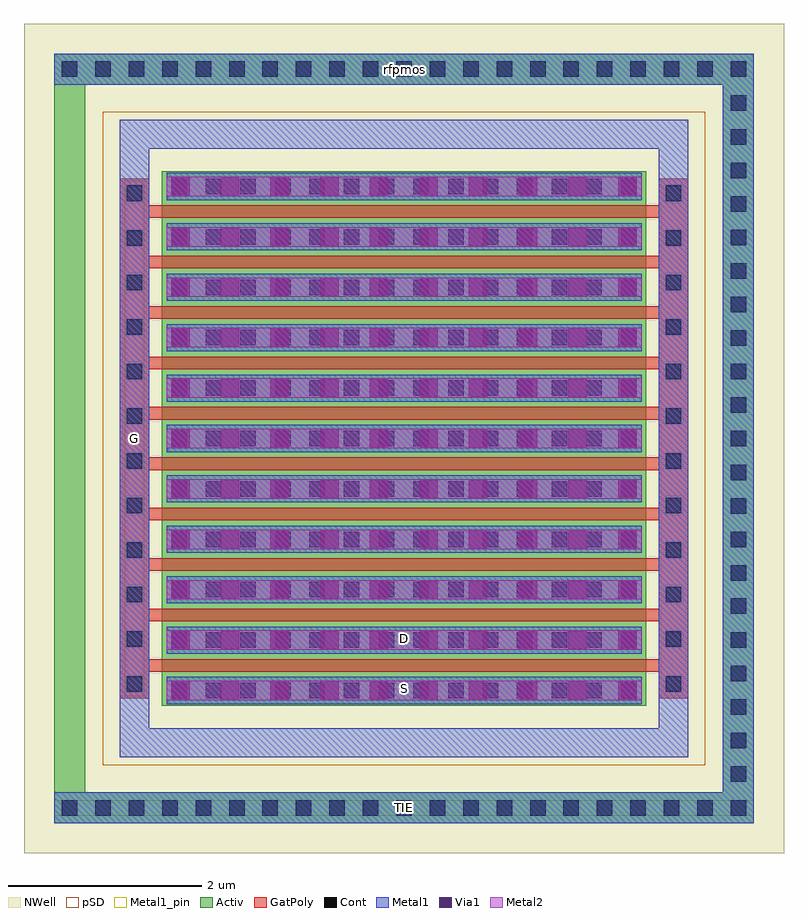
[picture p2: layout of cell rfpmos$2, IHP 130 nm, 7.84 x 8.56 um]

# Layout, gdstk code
import gdstk
lib = gdstk.Library(unit=1e-6, precision=5e-09)
def R(c, l, rs):  # rectangles x0, y0, x1, y1
    for r in rs: c.add(gdstk.rectangle(r[:2], r[2:], *l))
def A(c, l, x, y, w, h, nx, ny, dx, dy):  # array of equal rectangles
    R(c, l, [(x+i*dx, y+j*dy, x+i*dx+w, y+j*dy+h) for i in range(nx) for j in range(ny)])
def P(c, l, *ps):  # polygons
    for p in ps: c.add(gdstk.Polygon(p, *l))
Activ = (1, 0)
GatPoly = (5, 0)
Cont = (6, 0)
Metal1 = (8, 0)
Metal1_pin = (8, 2)
Metal2 = (10, 0)
pSD = (14, 0)
Via1 = (19, 0)
NWell = (31, 0)

rfpmos_2 = lib.new_cell('rfpmos$2')
R(rfpmos_2, Activ, [(1.42,1.525,6.42,7.035)])
P(rfpmos_2, Activ, [(0.31,0.31),(0.31,7.93),(0.63,7.93),(0.63,0.63),(7.21,0.63),(7.21,7.93),(0.31,7.93),(0.31,8.25),(7.53,8.25),(7.53,0.31)])
A(rfpmos_2, GatPoly, 1.29, 1.875, 5.26, 0.13, 1, 10, 0, 0.52)
R(rfpmos_2, GatPoly, [(0.99,1.6,1.29,6.96), (6.55,1.6,6.85,6.96)])
A(rfpmos_2, Cont, 0.39, 0.39, 0.16, 0.16, 21, 2, 0.345, 7.62)
A(rfpmos_2, Cont, 7.29, 0.74, 0.16, 0.16, 1, 5, 0, 0.345)
A(rfpmos_2, Cont, 1.52, 1.6, 0.16, 0.16, 3, 11, 0.355, 0.52)
A(rfpmos_2, Cont, 2.59, 1.6, 0.16, 0.16, 3, 11, 0.355, 0.52)
A(rfpmos_2, Cont, 3.66, 1.6, 0.16, 0.16, 1, 11, 0, 0.52)
A(rfpmos_2, Cont, 4.015, 1.6, 0.16, 0.16, 1, 11, 0, 0.52)
A(rfpmos_2, Cont, 4.375, 1.6, 0.16, 0.16, 3, 11, 0.355, 0.52)
A(rfpmos_2, Cont, 5.445, 1.6, 0.16, 0.16, 1, 11, 0, 0.52)
A(rfpmos_2, Cont, 5.8, 1.6, 0.16, 0.16, 1, 11, 0, 0.52)
A(rfpmos_2, Cont, 6.16, 1.6, 0.16, 0.16, 1, 11, 0, 0.52)
A(rfpmos_2, Cont, 1.06, 1.67, 0.16, 0.16, 1, 12, 0, 0.46)
A(rfpmos_2, Cont, 6.62, 1.67, 0.16, 0.16, 1, 12, 0, 0.46)
A(rfpmos_2, Cont, 7.29, 2.47, 0.16, 0.16, 1, 5, 0, 0.345)
A(rfpmos_2, Cont, 7.29, 4.2, 0.16, 0.16, 1, 5, 0, 0.345)
A(rfpmos_2, Cont, 7.29, 5.93, 0.16, 0.16, 1, 5, 0, 0.345)
R(rfpmos_2, Cont, [(7.29,7.66,7.45,7.82)])
A(rfpmos_2, Metal1, 1.47, 1.54, 4.9, 0.28, 1, 11, 0, 0.52)
R(rfpmos_2, Metal1, [(0.31,0.31,7.53,0.63), (7.21,0.63,7.53,7.93), (1.04,1.62,1.24,6.94), (6.6,1.62,6.8,6.94), (0.31,7.93,7.53,8.25)])
P(rfpmos_2, Metal1, [(0.99,0.99),(0.99,7.27),(1.29,7.27),(1.29,1.29),(6.55,1.29),(6.55,7.27),(0.99,7.27),(0.99,7.57),(6.85,7.57),(6.85,0.99)])
R(rfpmos_2, Metal1_pin, [(0.31,0.39,7.53,0.55), (0.31,0.39,7.53,0.55), (1.47,1.54,6.37,1.82), (1.47,1.54,6.37,1.82), (1.04,1.62,1.24,6.94), (1.04,1.62,1.24,6.94), (1.47,2.06,6.37,2.34), (1.47,2.06,6.37,2.34)])
A(rfpmos_2, Metal2, 1.47, 1.58, 4.9, 0.2, 1, 11, 0, 0.52)
R(rfpmos_2, pSD, [(0.81,0.91,7.03,7.65)])
A(rfpmos_2, Via1, 1.52, 1.585, 0.19, 0.19, 3, 11, 0.51, 0.52)
A(rfpmos_2, Via1, 3.055, 1.585, 0.19, 0.19, 1, 11, 0, 0.52)
A(rfpmos_2, Via1, 3.565, 1.585, 0.19, 0.19, 1, 11, 0, 0.52)
A(rfpmos_2, Via1, 4.08, 1.585, 0.19, 0.19, 1, 11, 0, 0.52)
A(rfpmos_2, Via1, 4.59, 1.585, 0.19, 0.19, 1, 11, 0, 0.52)
A(rfpmos_2, Via1, 5.105, 1.585, 0.19, 0.19, 1, 11, 0, 0.52)
A(rfpmos_2, Via1, 5.615, 1.585, 0.19, 0.19, 1, 11, 0, 0.52)
A(rfpmos_2, Via1, 6.13, 1.585, 0.19, 0.19, 1, 11, 0, 0.52)
R(rfpmos_2, NWell, [(0,0,7.84,8.56)])
rfpmos_2.add(gdstk.Label('S', (3.92,1.7), layer=63, texttype=0))
rfpmos_2.add(gdstk.Label('D', (3.92,2.22), layer=63, texttype=0))
rfpmos_2.add(gdstk.Label('G', (1.14,4.28), layer=63, texttype=0))
rfpmos_2.add(gdstk.Label('TIE', (3.92,0.47), layer=63, texttype=0))
rfpmos_2.add(gdstk.Label('rfpmos', (3.92,8.09), layer=63, texttype=0))

lib.write_gds('rfpmos_2.gds')
